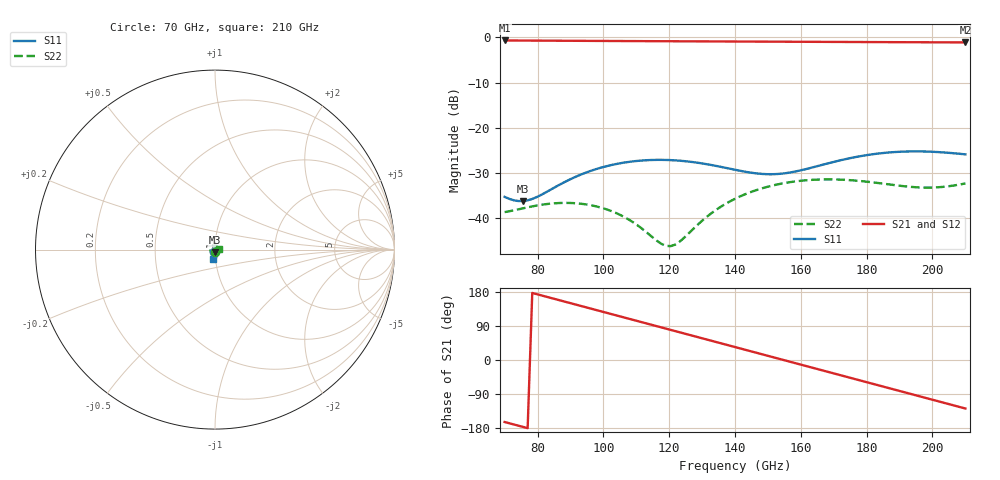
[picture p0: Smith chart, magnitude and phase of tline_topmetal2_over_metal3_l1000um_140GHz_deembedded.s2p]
! Created with skrf 2.0.1 (http://scikit-rf.org).
# GHz S DB R 50.0
!freq dBS11 angS11 dBS21 angS21 dBS12 angS12 dBS22 angS22
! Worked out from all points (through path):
!   101 points, 70 GHz to 210 GHz, reference 50 ohm
!   highest |S21| = -0.68 dB at 70 GHz (marker M1); lowest = -1.1 dB at 210 GHz (marker M2)
!   group delay of S21, straight-line fit = 6.44 ps
!   lowest |S11| = -36.2 dB at 75.6 GHz (marker M3), VSWR 1.03, Z = 49.9 - j1.55 ohm
!   |S11| at or under -10 dB: start of sweep to end of sweep
!   |S22| runs from -46.1 to -31.4 dB; largest |S21 - S12| = 1.1e-14
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70  -35.24 -111.6  -0.68 -163.6  -0.68 -163.6  -38.60 -90.6
75.6  -36.17 -92.9  -0.70 -176.6  -0.70 -176.6  -37.77 -90.6
84  -33.64 -71.1  -0.73 163.9  -0.73 163.9  -36.73 -101.5
93.8  -30.13 -70.6  -0.77 141.2  -0.77 141.2  -36.81 -124.2
100.8  -28.49 -76.8  -0.79 125.0  -0.79 125.0  -37.95 -145.3
106.4  -27.65 -83.1  -0.81 112.0  -0.81 112.0  -39.70 -166.0
112  -27.19 -89.7  -0.83 99.0  -0.83 99.0  -42.41 166.3
117.6  -27.06 -96.0  -0.85 86.1  -0.85 86.1  -45.60 121.0
121.8  -27.17 -100.3  -0.86 76.3  -0.86 76.3  -45.80 72.4
130.2  -27.87 -106.6  -0.89 56.9  -0.89 56.9  -40.38 4.6
140  -29.25 -107.4  -0.92 34.2  -0.92 34.2  -35.66 -39.1
147  -30.09 -101.7  -0.94 18.0  -0.94 18.0  -33.62 -65.2
152.6  -30.20 -94.2  -0.95 5.0  -0.95 5.0  -32.54 -85.3
158.2  -29.65 -87.2  -0.97 -8.0  -0.97 -8.0  -31.83 -105.3
163.8  -28.68 -82.8  -0.99 -21.0  -0.99 -21.0  -31.46 -125.7
169.4  -27.62 -81.6  -1.00 -34.0  -1.00 -34.0  -31.38 -146.8
176.4  -26.48 -83.4  -1.02 -50.2  -1.02 -50.2  -31.62 -174.8
182  -25.81 -86.4  -1.04 -63.2  -1.04 -63.2  -32.04 160.9
187.6  -25.38 -90.1  -1.06 -76.1  -1.06 -76.1  -32.56 134.5
193.2  -25.20 -93.8  -1.07 -89.1  -1.07 -89.1  -33.01 105.5
198.8  -25.24 -97.2  -1.09 -102.1  -1.09 -102.1  -33.19 74.3
210  -25.85 -100.7  -1.11 -128.0  -1.11 -128.0  -32.26 11.3
